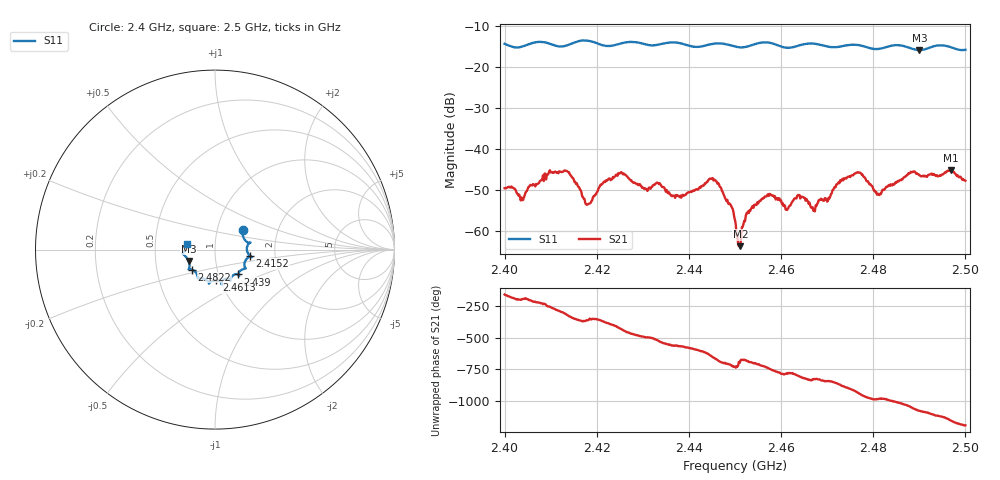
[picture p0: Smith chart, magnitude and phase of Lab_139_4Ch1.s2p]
# Hz S RI R 50
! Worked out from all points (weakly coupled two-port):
!   601 points, 2.4 GHz to 2.5 GHz, reference 50 ohm
!   highest |S21| = -45.10 dB at 2.4968 GHz (marker M1); lowest = -63.6 dB at 2.4512 GHz (marker M2)
!   lowest |S11| = -15.9 dB at 2.49 GHz (marker M3), VSWR 1.38, Z = 36.9 - j4.82 ohm
!   |S11| at or under -10 dB: start of sweep to end of sweep
!   S12 and S22 are empty: the file has one direction only
!   S11 on the Smith chart (normalised r, x): 2.4 GHz: 1.33, +0.31; 2.4152 GHz: 1.48, -0.11; 2.439 GHz: 1.24, -0.35; 2.4613 GHz: 0.96, -0.34; 2.4822 GHz: 0.76, -0.17; 2.5 GHz: 0.73, +0.05
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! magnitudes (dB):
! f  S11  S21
! 2.4 GHz  -14.4  -49.5
! 2.4038 GHz  -15.0  -52.4
! 2.41 GHz  -14.4  -45.6
! 2.4152 GHz  -14.1  -48.0
! 2.4167 GHz  -13.6  -50.5
! 2.4182 GHz  -13.6  -53.3
! 2.4252 GHz  -14.3  -45.7
! 2.4333 GHz  -14.6  -48.3
! 2.439 GHz  -14.5  -51.3
! 2.4455 GHz  -14.3  -47.4
! 2.45 GHz  -15.0  -57.3
! 2.4512 GHz  -15.2  -63.6
! 2.4528 GHz  -15.0  -55.1
! 2.4567 GHz  -14.0  -51.5
! 2.4613 GHz  -15.3  -54.8
! 2.4667 GHz  -14.3  -54.2
! 2.4765 GHz  -14.6  -45.7
! 2.4822 GHz  -15.4  -49.9
! 2.4833 GHz  -15.0  -48.8
! 2.49 GHz  -15.9  -46.3
! 2.4968 GHz  -15.2  -45.1
! 2.5 GHz  -15.8  -47.7
